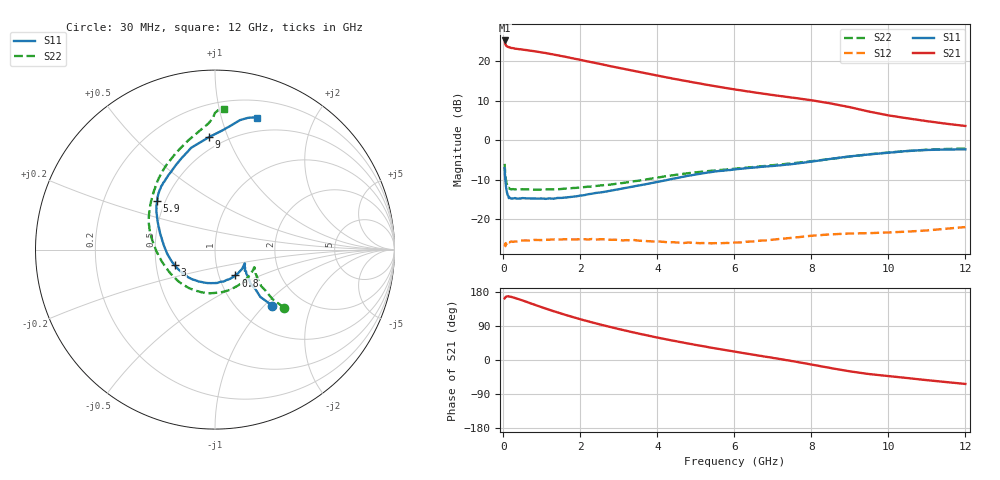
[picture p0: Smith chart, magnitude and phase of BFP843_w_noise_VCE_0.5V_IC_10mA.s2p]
! Infineon Technologies  Discrete & RF Semiconductors
! BFP843
! VCE =  0.5 V,  IC =  10 mA
! Common Emitter S-Parameters:  Aug 2013
# GHz  S  MA  R  50
!  f  S11  S21  S12  S22
! GHz  MAG  ANG  MAG  ANG  MAG  ANG  MAG  ANG
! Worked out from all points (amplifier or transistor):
!   103 points, 30 MHz to 12 GHz, reference 50 ohm
!   highest |S21| = 25.3 dB at 30 MHz (marker M1)
!   |S21| within 3 dB of that: start of sweep to 972.6 MHz
!   unconditionally stable (mu >= 1): 143.9 MHz to 981.6 MHz; 1.652 GHz to 11.88 GHz
!   at 400 MHz: K = 1.01, MAG = 23.7 dB, |S12| = -25.5 dB
!   at 3.7 GHz: K = 1.24, MAG = 18.3 dB, |S12| = -25.5 dB
!   at 12 GHz: K = 0.99, MSG = 12.8 dB, |S12| = -22.0 dB
!   lowest NFmin = 0.92 dB at 450 MHz
!   S11 on the Smith chart (normalised r, x): 30 MHz: 1.43, -1.11; 800 MHz: 1.20, -0.36; 3 GHz: 0.63, -0.12; 5.9 GHz: 0.45, +0.30; 9 GHz: 0.42, +0.86; 12 GHz: 0.36, +1.30
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0.03  0.4464 -44.4  18.43 162.5  0.0459 30.2  0.504 -40.1
0.04  0.3644 -46.2  17.25 163.6  0.0483 24.5  0.4206 -40.7
0.05  0.3163 -44.4  16.56 165.9  0.0457 20.7  0.3629 -39.1
0.07  0.2498 -41.0  15.77 167.2  0.0491 14.4  0.3057 -35.9
0.13  0.1967 -31.3  15.22 168.2  0.0517 9.3  0.2489 -27.1
0.8  0.1835 -51.6  13.46 146.2  0.0549 1.6  0.2379 -52.0
1.1  0.1816 -69.1  12.76 135.7  0.0552 0.3  0.2388 -69.6
1.4  0.1864 -86.0  11.97 125.8  0.0555 -0.6  0.2404 -86.1
1.7  0.1909 -102.3  11.2 116.4  0.0556 -2.4  0.2452 -101.6
2.1  0.2024 -122.5  10.21 104.7  0.056 -4.5  0.2558 -120.2
2.5  0.2183 -140.2  9.307 94.0  0.0558 -5.8  0.2676 -136.5
3  0.2405 -158.7  8.283 81.6  0.0546 -8.0  0.2844 -154.5
3.5  0.2675 -175.3  7.401 70.0  0.0538 -10.0  0.3081 -170.2
4.1  0.3043 167.9  6.475 57.2  0.0521 -10.2  0.3438 174.6
5  0.3704 150.7  5.358 39.7  0.0502 -8.9  0.3939 159.2
5.9  0.4218 139.8  4.506 24.0  0.0501 -6.0  0.4325 146.8
6.1  0.4335 137.6  4.348 20.5  0.051 -5.6  0.4414 144.2
7.3  0.4899 121.9  3.586 0.5  0.057 -4.0  0.5008 129.3
8.5  0.5829 103.1  2.937 -21.2  0.0645 -7.9  0.5814 111.9
9  0.6273 93.1  2.631 -30.0  0.0661 -10.7  0.6245 104.1
10.5  0.7347 79.1  1.901 -47.7  0.0699 -15.0  0.7315 91.0
12  0.769 72.5  1.521 -63.2  0.0798 -19.7  0.7877 86.2
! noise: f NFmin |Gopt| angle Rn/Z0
0.45  0.92  0.06  5  0.02
0.9  0.93  0.06  16  0.04
1.5  0.95  0.06  26  0.1
1.9  0.97  0.06  34  0.18
2.4  1  0.04  44  0.24
3.5  1.06  0.02  59  0.27
5.5  1.19  0.17  -124  0.32
10  1.82  0.5  -67  0.43
